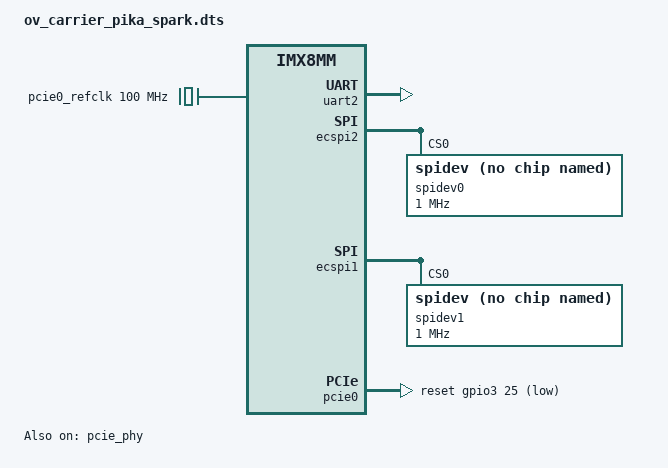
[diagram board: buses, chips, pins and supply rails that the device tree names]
/**
 * Portenta-X8 dtb overlay file
 * Arduino 2023
 * Enable RS-485 on Pika-Spark carrier board and more
 */

/dts-v1/;
/plugin/;

#include "imx8mm-pinfunc.h"
#include <dt-bindings/clock/imx8mm-clock.h>
#include <dt-bindings/phy/phy-imx8-pcie.h>
#include <dt-bindings/gpio/gpio.h>

/ {
	compatible = "fsl,imx8mm-evk", "fsl,imx8mm";

	/* Pins mux and pad configuration */
	fragment@0 {
		target = <&iomuxc>;
		__overlay__ {
			pinctrl-0 = <&pinctrl_hog>;
			imx8mm {
				/* Pins connected to hw managed in user space configured as input pull down */
				pinctrl_hog: hoggrp {
					fsl,pins = <
						MX8MM_IOMUXC_SPDIF_TX_GPIO5_IO3			0x110 /* J1 74 nBNO085_IRQ */
						MX8MM_IOMUXC_SAI5_RXD2_GPIO3_IO23		0x110 /* J1 56 BNO085_BOOTN */
						MX8MM_IOMUXC_SAI5_RXD1_GPIO3_IO22		0x110 /* J1 58 BNO085_nRST */
						MX8MM_IOMUXC_SPDIF_RX_GPIO5_IO4			0x110 /* J1 76 NCN26010_nIRQ */
						MX8MM_IOMUXC_SAI5_RXD0_GPIO3_IO21		0x110 /* J1 60 NCN26010_nRST */
					>;
				};

				/* Pins RS-485 */
				pinctrl_uart2: uart2grp {
					fsl,pins = <
						MX8MM_IOMUXC_SAI3_TXFS_UART2_DCE_RX		0x140
						MX8MM_IOMUXC_SAI3_TXC_UART2_DCE_TX		0x140
						MX8MM_IOMUXC_SAI3_RXC_UART2_DCE_CTS_B		0x140
						MX8MM_IOMUXC_SAI3_RXD_UART2_DCE_RTS_B		0x140
					>;
				};

				/* Pins PCIe */
				pinctrl_pcie0: pcie0grp {
					fsl,pins = <
						/* PCIE_nRST */
						MX8MM_IOMUXC_SAI5_MCLK_GPIO3_IO25	0x41
						/* PCIE_CLKREQ open drain, pull up */
						/* MX8MM_IOMUXC_I2C4_SCL_PCIE1_CLKREQ_B	0x61 - needs another pin, the one that we use ... */
					>;
				};

			};
		};
	};

	/* RS-485 */
	fragment@1 {
		target = <&uart2>;
		__overlay__ {
			pinctrl-names = "default";
			pinctrl-0 = <&pinctrl_uart2>;
			assigned-clocks = <&clk IMX8MM_CLK_UART2>;
			assigned-clock-parents = <&clk IMX8MM_SYS_PLL1_80M>;
			linux,rs485-enabled-at-boot-time;
			/*rs485-rx-during-tx;*/
			rs485-rts-active-high;
			fsl,uart-has-rtscts;
			status = "okay";
		};
	};

	/* SPI0 */
	fragment@2 {
		target = <&ecspi2>;
		__overlay__ {
			status = "okay";
			spidev0: spidev@0 {
				compatible = "rohm,dh2228fv";
				spi-max-frequency = <1000000>;
				reg = <0>;
			};
		};
	};

	/* SPI1 */
	fragment@3 {
		target = <&ecspi1>;
		__overlay__ {
			status = "okay";
			spidev1: spidev@0 {
				compatible = "rohm,dh2228fv";
				spi-max-frequency = <1000000>;
				reg = <0>;
			};
		};
	};

	/* PCIe */
	fragment@4 {
		target-path = "/";
		__overlay__ {
			pcie0_refclk: pcie0-refclk {
				compatible = "fixed-clock";
				clock-cells = <0>;
				clock-frequency = <100000000>;
			};
		};
	};

	fragment@5 {
		target = <&pcie_phy>;
		__overlay__ {
			fsl,refclk-pad-mode = <IMX8_PCIE_REFCLK_PAD_INPUT>;
			fsl,tx-deemph-gen1 = <0x2d>;
			/*fsl,tx-deemph-gen2 = <0xf>;*/
			/*clocks = <&clk IMX8MM_CLK_PCIE1_PHY>;*/
			fsl,clkreq-unsupported;
			status = "okay";
		};
	};

	fragment@6 {
		target = <&pcie0>;
		__overlay__ {
			pinctrl-names = "default";
			pinctrl-0 = <&pinctrl_pcie0>;
			reset-gpio = <&gpio3 25 GPIO_ACTIVE_LOW>;
			clocks = <&clk IMX8MM_CLK_PCIE1_ROOT>,
				<&clk IMX8MM_CLK_PCIE1_AUX>,
				<&clk IMX8MM_CLK_PCIE1_PHY>,
				<&pcie0_refclk>;
			clock-names = "pcie", "pcie_aux", "pcie_phy", "pcie_bus";
			assigned-clocks = <&clk IMX8MM_CLK_PCIE1_AUX>,
				<&clk IMX8MM_CLK_PCIE1_PHY>,
				<&clk IMX8MM_CLK_PCIE1_CTRL>;
			assigned-clock-rates = <10000000>, <100000000>, <250000000>;
			assigned-clock-parents = <&clk IMX8MM_SYS_PLL2_50M>,
				<&clk IMX8MM_SYS_PLL2_100M>,
				<&clk IMX8MM_SYS_PLL2_250M>;
			ext_osc = <1>;
			dma-ranges = <0x40000000 0x0 0x40000000 0x80000000>;
			status = "okay";
		};
	};

	fragment@7 {
		target = <&pcie0_ep>;
		__overlay__ {
			status = "disabled";
		};
	};
};
